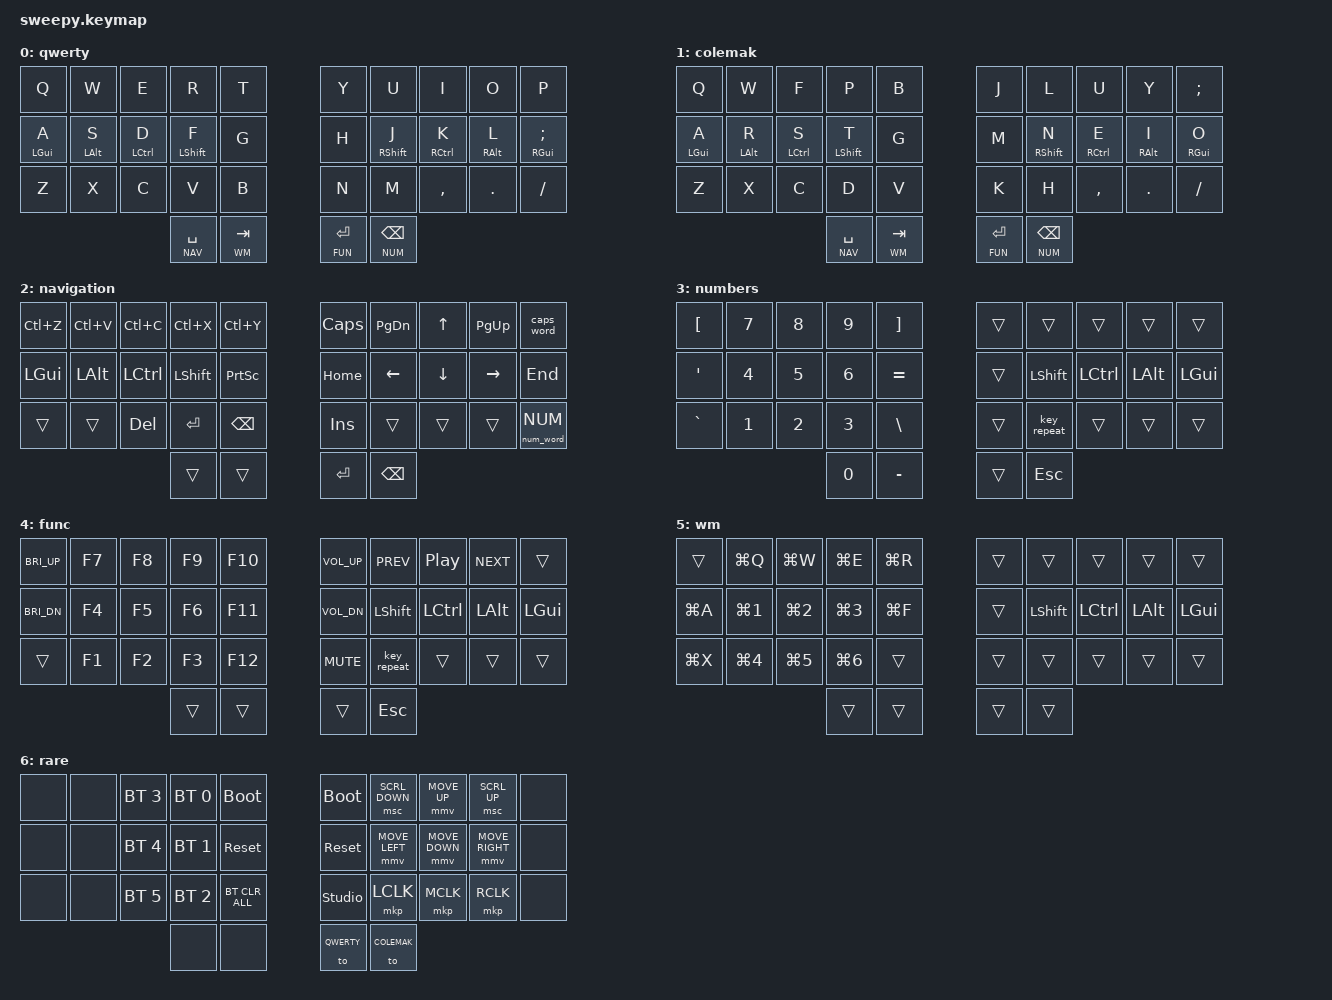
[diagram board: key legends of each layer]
#include <behaviors.dtsi>
#include <dt-bindings/zmk/bt.h>
#include <dt-bindings/zmk/keys.h>
#include <dt-bindings/zmk/pointing.h>
#include <behaviors/num_word.dtsi>       // Requires zmk-auto-layer module
#include <zmk-helpers/helper.h>          // Requires zmk-helpers module
#include <zmk-helpers/key-labels/34.h>   // Source key-labels

// Vars
#define KEYS_L LT0 LT1 LT2 LT3 LT4 LM0 LM1 LM2 LM3 LM4 LB0 LB1 LB2 LB3 LB4   // Left-hand keys
#define KEYS_R RT0 RT1 RT2 RT3 RT4 RM0 RM1 RM2 RM3 RM4 RB0 RB1 RB2 RB3 RB4   // Right-hand keys
#define THUMBS LH1 LH0 RH0 RH1		                                         // Thumb keys

#define XXX &none
#define ___ &trans

#define QWERTY 0
#define COLEMAK 1
#define NAV 2
#define NUM 3
#define FUN 4
#define WM 5
#define RARE 6

#define COMBO_PRIOR_IDLE 50
#define COMBO_TIMEOUT_MS 35

#define PRIOR_IDLE_MS 50
#define QUICK_TAP_MS 500

// Functions
#define COMBO(NAME, BINDINGS, KEYPOS, IDLE, MS)          \
    combo_##NAME {                                       \
        bindings = <BINDINGS>;                           \
        key-positions = <KEYPOS>;                        \
        require-prior-idle-ms = <IDLE>;                  \
        timeout-ms = <MS>;                               \
    };

#define MAKE_HRM(NAME, HOLD, TAP, TRIGGER_POS)           \
    ZMK_HOLD_TAP(NAME,                                   \
        bindings = <HOLD>, <TAP>;                        \
        flavor = "balanced";                             \
        tapping-term-ms = <200>;                         \
        quick-tap-ms = <QUICK_TAP_MS>;                   \
        require-prior-idle-ms = <PRIOR_IDLE_MS>;         \
        hold-trigger-on-release;                         \
        hold-trigger-key-positions = <TRIGGER_POS>;)

MAKE_HRM(hml, &kp, &kp, KEYS_R THUMBS)   // Left-hand HRMs
MAKE_HRM(hmr, &kp, &kp, KEYS_L THUMBS)   // Right-hand HRMs

// Behavior configuration
&lt {
    tapping-term-ms = <200>;
    quick_tap_ms = <0>;
    flavor = "tap-preferred";
};

&mt {
    tapping-term-ms = <200>;
    quick_tap_ms = <0>;
    flavor = "tap-preferred";
};

&sk {
    release-after-ms = <500>;
    quick-release;
};

&caps_word {
    continue-list = <UNDERSCORE MINUS BACKSPACE DELETE>;
};

&num_word {
    continue-list = <BSPC DEL DOT COMMA PLUS MINUS FSLH BSLH EQUAL UNDERSCORE COLON>;
    ignore-modifiers;
};

&mmv {
    time-to-max-speed-ms = <50>;
};

&msc {
    acceleration-exponent = <1>;
};

/ {
    combos {
        compatible = "zmk,combos";
        COMBO(rare, &mo RARE,  0 1, COMBO_PRIOR_IDLE, COMBO_TIMEOUT_MS)
        COMBO(lbkt, &kp LBKT,  1 2, COMBO_PRIOR_IDLE, COMBO_TIMEOUT_MS)
		COMBO(lpar, &kp LPAR,  2 3, COMBO_PRIOR_IDLE, COMBO_TIMEOUT_MS)
        COMBO(lbrc, &kp LBRC,  1 3, COMBO_PRIOR_IDLE, COMBO_TIMEOUT_MS)
		COMBO(rpar, &kp RPAR,  6 7, COMBO_PRIOR_IDLE, COMBO_TIMEOUT_MS)
        COMBO(rbkt, &kp RBKT,  7 8, COMBO_PRIOR_IDLE, COMBO_TIMEOUT_MS)
        COMBO(rbrc, &kp RBRC,  6 8, COMBO_PRIOR_IDLE, COMBO_TIMEOUT_MS)
        COMBO(resc, &kp ESC, 16 17, COMBO_PRIOR_IDLE, COMBO_TIMEOUT_MS)
        COMBO(lesc, &kp ESC, 12 13, COMBO_PRIOR_IDLE, COMBO_TIMEOUT_MS)
    };

	behaviors {
		hm: homerow_mods {
			compatible = "zmk,behavior-hold-tap";
			label = "HOMEROW_MODS";
			#binding-cells = <2>;
			tapping-term-ms = <200>;
			quick-tap-ms = <500>;
			flavor = "tap-preferred";
			bindings = <&kp>, <&kp>;
		};
	};

    keymap {
        compatible = "zmk,keymap";

		qwerty {
			bindings = <
				&kp Q        &kp W        &kp E         &kp R          &kp T           &kp Y        &kp U         &kp I         &kp O        &kp P
				&hml LGUI A  &hml LALT S  &hml LCTRL D  &hml LSHFT F   &kp G           &kp H        &hmr RSHFT J  &hmr RCTRL K  &hmr RALT L  &hmr RGUI SEMI
				&kp Z        &kp X        &kp C         &kp V          &kp B           &kp N        &kp M         &kp COMMA     &kp DOT      &kp FSLH
				                                        &lt NAV SPACE  &lt WM TAB      &lt FUN RET  &lt NUM BSPC
			>;
		};

		colemak {
			bindings = <
				&kp Q        &kp W        &kp F         &kp P          &kp B           &kp J         &kp L         &kp U         &kp Y        &kp SEMI
				&hml LGUI A  &hml LALT R  &hml LCTRL S  &hml LSHFT T   &kp G           &kp M         &hmr RSHFT N  &hmr RCTRL E  &hmr RALT I  &hmr RGUI O
				&kp Z        &kp X        &kp C         &kp D          &kp V           &kp K         &kp H         &kp COMMA     &kp DOT      &kp FSLH
                                                        &lt NAV SPACE  &lt WM TAB      &lt FUN RET   &lt NUM BSPC
			>;
		};

		navigation {
			bindings = <
                &kp LC(Z)    &kp LC(V)    &kp LC(C)     &kp LC(X)      &kp LC(Y)       &kp CAPSLOCK  &kp PG_DN     &kp UP        &kp PG_UP    &caps_word
                &kp LGUI     &kp LALT     &kp LCTRL     &kp LSHFT      &kp PSCRN       &kp HOME      &kp LEFT      &kp DOWN      &kp RIGHT    &kp END
                ___          ___          &kp DEL       &kp RET        &kp BSPC        &kp INS       ___           ___           ___          &num_word NUM
                                                        ___            ___             &kp RET       &kp BSPC
			>;
		};

		numbers {
			bindings = <
                &kp LBKT     &kp N7       &kp N8        &kp N9         &kp RBKT        ___           ___           ___           ___          ___
                &kp SQT      &kp N4       &kp N5        &kp N6         &kp EQUAL       ___           &kp LSHFT     &kp LCTRL     &kp LALT     &kp LGUI
                &kp GRAVE    &kp N1       &kp N2        &kp N3         &kp BSLH        ___           &key_repeat   ___           ___          ___
                                                        &kp N0         &kp MINUS       ___           &kp ESC
			>;
		};
 
		func {
			bindings = <
                &kp C_BRI_UP &kp F7       &kp F8        &kp F9         &kp F10         &kp C_VOL_UP  &kp C_PREV    &kp C_PP      &kp C_NEXT   ___
                &kp C_BRI_DN &kp F4       &kp F5        &kp F6         &kp F11         &kp C_VOL_DN  &kp LSHFT     &kp LCTRL     &kp LALT     &kp LGUI
                ___          &kp F1       &kp F2        &kp F3         &kp F12         &kp C_MUTE    &key_repeat   ___           ___          ___
                                                        ___            ___             ___           &kp ESC
			>;
		};

		wm {
            bindings = <
				___          &kp LG(Q)    &kp LG(W)     &kp LG(E)      &kp LG(R)       ___           ___           ___           ___          ___
				&kp LG(A)    &kp LG(N1)   &kp LG(N2)    &kp LG(N3)     &kp LG(F)       ___           &kp LSHFT     &kp LCTRL     &kp LALT     &kp LGUI
				&kp LG(X)    &kp LG(N4)   &kp LG(N5)    &kp LG(N6)     ___             ___           ___           ___           ___          ___
				                                        ___            ___             ___           ___
            >;
		};

		rare {
			bindings = <
				XXX   XXX   &bt BT_SEL 3   &bt BT_SEL 0   &bootloader        &bootloader      &msc SCRL_DOWN   &mmv MOVE_UP     &msc SCRL_UP      XXX
				XXX   XXX   &bt BT_SEL 4   &bt BT_SEL 1   &sys_reset         &sys_reset       &mmv MOVE_LEFT   &mmv MOVE_DOWN   &mmv MOVE_RIGHT   XXX
				XXX   XXX   &bt BT_SEL 5   &bt BT_SEL 2   &bt BT_CLR_ALL     &studio_unlock   &mkp LCLK        &mkp MCLK        &mkp RCLK         XXX
						                   XXX            XXX                &to QWERTY	      &to COLEMAK
			>;
		};

    };
};
